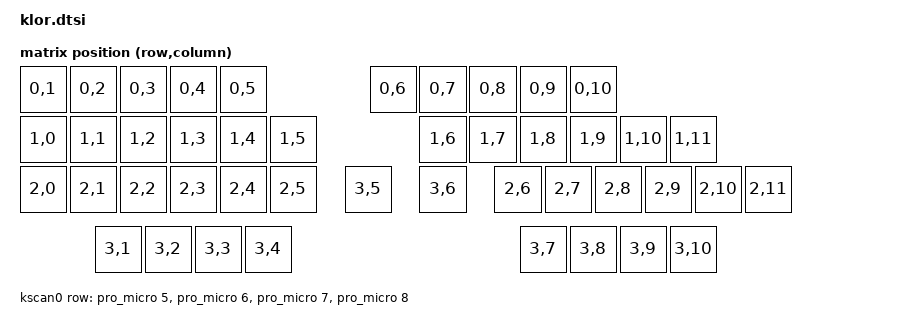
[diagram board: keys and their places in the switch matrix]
/*
 * Copyright (c) 2022 The ZMK Contributors
 *
 * SPDX-License-Identifier: MIT
 */

#include "klor_common.dtsi"
#include <physical_layouts.dtsi>

/ {
	chosen {
		zmk,physical-layout = &default_layout;
	};

	default_transform: keymap_transform_0 {
		compatible = "zmk,matrix-transform";
		columns = <12>;
		rows = <4>;
		map = <
        RC(0,1) RC(0,2) RC(0,3) RC(0,4) RC(0,5)                 RC(0,6) RC(0,7) RC(0,8) RC(0,9) RC(0,10)
RC(1,0) RC(1,1) RC(1,2) RC(1,3) RC(1,4) RC(1,5)                 RC(1,6) RC(1,7) RC(1,8) RC(1,9) RC(1,10) RC(1,11)
RC(2,0) RC(2,1) RC(2,2) RC(2,3) RC(2,4) RC(2,5) RC(3,5) RC(3,6) RC(2,6) RC(2,7) RC(2,8) RC(2,9) RC(2,10) RC(2,11)
                        RC(3,1) RC(3,2) RC(3,3) RC(3,4) RC(3,7) RC(3,8) RC(3,9) RC(3,10)
		>;
	};

	// Cosmetic layout only, for ZMK Studio's visual key map - key count and
	// order are authoritative (they mirror default_transform/the keymap's
	// bindings exactly), but x/y are an approximate flat grid, not real PCB
	// geometry (see MIGRATION_NOTES.md for why: the only external source of
	// real per-key coordinates we found was internally inconsistent for
	// anything past the first 20 keys). Refine later if you want Studio's
	// editor to visually match the real board.
	default_layout: default_layout {
		compatible = "zmk,physical-layout";
		display-name = "Default";
		transform = <&default_transform>;
		kscan = <&kscan0>;
		keys  =
			<&key_physical_attrs 100 100    0   0 0 0 0>,
			<&key_physical_attrs 100 100  100   0 0 0 0>,
			<&key_physical_attrs 100 100  200   0 0 0 0>,
			<&key_physical_attrs 100 100  300   0 0 0 0>,
			<&key_physical_attrs 100 100  400   0 0 0 0>,
			<&key_physical_attrs 100 100  700   0 0 0 0>,
			<&key_physical_attrs 100 100  800   0 0 0 0>,
			<&key_physical_attrs 100 100  900   0 0 0 0>,
			<&key_physical_attrs 100 100 1000   0 0 0 0>,
			<&key_physical_attrs 100 100 1100   0 0 0 0>,
			<&key_physical_attrs 100 100    0 100 0 0 0>,
			<&key_physical_attrs 100 100  100 100 0 0 0>,
			<&key_physical_attrs 100 100  200 100 0 0 0>,
			<&key_physical_attrs 100 100  300 100 0 0 0>,
			<&key_physical_attrs 100 100  400 100 0 0 0>,
			<&key_physical_attrs 100 100  500 100 0 0 0>,
			<&key_physical_attrs 100 100  800 100 0 0 0>,
			<&key_physical_attrs 100 100  900 100 0 0 0>,
			<&key_physical_attrs 100 100 1000 100 0 0 0>,
			<&key_physical_attrs 100 100 1100 100 0 0 0>,
			<&key_physical_attrs 100 100 1200 100 0 0 0>,
			<&key_physical_attrs 100 100 1300 100 0 0 0>,
			<&key_physical_attrs 100 100    0 200 0 0 0>,
			<&key_physical_attrs 100 100  100 200 0 0 0>,
			<&key_physical_attrs 100 100  200 200 0 0 0>,
			<&key_physical_attrs 100 100  300 200 0 0 0>,
			<&key_physical_attrs 100 100  400 200 0 0 0>,
			<&key_physical_attrs 100 100  500 200 0 0 0>,
			<&key_physical_attrs 100 100  650 200 0 0 0>,
			<&key_physical_attrs 100 100  800 200 0 0 0>,
			<&key_physical_attrs 100 100  950 200 0 0 0>,
			<&key_physical_attrs 100 100 1050 200 0 0 0>,
			<&key_physical_attrs 100 100 1150 200 0 0 0>,
			<&key_physical_attrs 100 100 1250 200 0 0 0>,
			<&key_physical_attrs 100 100 1350 200 0 0 0>,
			<&key_physical_attrs 100 100 1450 200 0 0 0>,
			<&key_physical_attrs 100 100  150 320 0 0 0>,
			<&key_physical_attrs 100 100  250 320 0 0 0>,
			<&key_physical_attrs 100 100  350 320 0 0 0>,
			<&key_physical_attrs 100 100  450 320 0 0 0>,
			<&key_physical_attrs 100 100 1000 320 0 0 0>,
			<&key_physical_attrs 100 100 1100 320 0 0 0>,
			<&key_physical_attrs 100 100 1200 320 0 0 0>,
			<&key_physical_attrs 100 100 1300 320 0 0 0>;
	};
};

&kscan0 {
	row-gpios
		= <&pro_micro 5 (GPIO_ACTIVE_HIGH | GPIO_PULL_DOWN)>
		, <&pro_micro 6 (GPIO_ACTIVE_HIGH | GPIO_PULL_DOWN)>
		, <&pro_micro 7 (GPIO_ACTIVE_HIGH | GPIO_PULL_DOWN)>
		, <&pro_micro 8 (GPIO_ACTIVE_HIGH | GPIO_PULL_DOWN)>
		;
};
